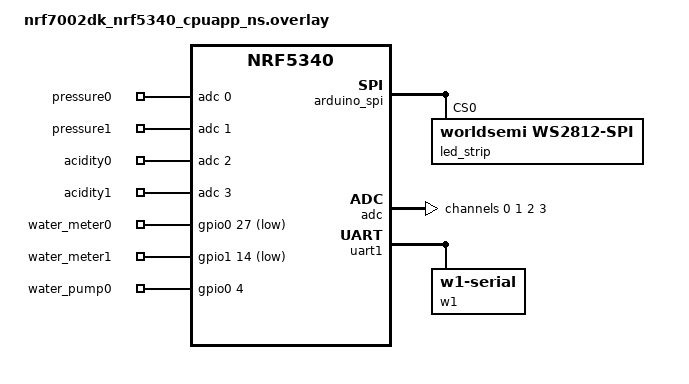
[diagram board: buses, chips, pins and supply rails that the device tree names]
#include <zephyr/dt-bindings/led/led.h>
#include "nrf_led_strip_bindings.h"

/ {
    aliases {
        push-button-0 = &button0;
        push-button-1 = &button1;
        status-led = &led0;
        light-control-0 = &led1;
        temperature-0 = &ds18b200;
        temperature-1 = &ds18b201;
        led-strip = &led_strip;
        water-meter-0 = &water_meter0;
        water-meter-1 = &water_meter1;
        //water-pump-0 = &water_pump0;
    };
    zephyr,user {
        /* these settings act as aliases for ADC sensors */
        io-channels = <&adc 0>, <&adc 1>, <&adc 2>, <&adc 3>;
        io-channel-names = "pressure0", "pressure1", "acidity0", "acidity1";
    };
    water_meters {
        compatible = "gpio-keys";
        water_meter0: water_meter_0 {
            gpios = <&gpio0 27 GPIO_ACTIVE_LOW>;
        };
        water_meter1: water_meter_1 {
            gpios = <&gpio1 14 GPIO_ACTIVE_LOW>;
        };
    };
    water_pumps {
        compatible = "gpio-keys";
        water_pump0: water_pump_0 {
            gpios = <&gpio0 4 GPIO_ACTIVE_HIGH>;
        };
    };
};

&arduino_spi {
    status = "okay";
    compatible = "nordic,nrf-spim";
    led_strip: ws2812@0 {
        compatible = "worldsemi,ws2812-spi";

        /* SPI */
        reg = <0>; /* ignored, but necessary for SPI bindings */
        spi-max-frequency = <SPI_FREQ>;

        /* WS2812 */
        chain-length = <32>; /* arbitrary; change at will */
        color-mapping = <LED_COLOR_ID_GREEN
                 LED_COLOR_ID_RED
                 LED_COLOR_ID_BLUE>;
        spi-one-frame = <ONE_FRAME>;
        spi-zero-frame = <ZERO_FRAME>;
    };
};

&adc {
    #address-cells = <1>;
    #size-cells = <0>;

    channel@0 {
        reg = <0>;
        zephyr,gain = "ADC_GAIN_1_6";
        zephyr,reference = "ADC_REF_INTERNAL";
        zephyr,acquisition-time = <ADC_ACQ_TIME_DEFAULT>;
        zephyr,resolution = <12>;
        zephyr,input-positive = <NRF_SAADC_AIN2>;
        zephyr,oversampling = <8>;
    };

    channel@1 {
        reg = <1>;
        zephyr,gain = "ADC_GAIN_1_6";
        zephyr,reference = "ADC_REF_INTERNAL";
        zephyr,acquisition-time = <ADC_ACQ_TIME_DEFAULT>;
        zephyr,resolution = <12>;
        zephyr,input-positive = <NRF_SAADC_AIN3>;
        zephyr,oversampling = <8>;
    };

    channel@2 {
        reg = <2>;
        zephyr,gain = "ADC_GAIN_1_6";
        zephyr,reference = "ADC_REF_INTERNAL";
        zephyr,acquisition-time = <ADC_ACQ_TIME_DEFAULT>;
        zephyr,resolution = <12>;
        zephyr,input-positive = <NRF_SAADC_AIN4>;
        zephyr,oversampling = <8>;
    };

    channel@3 {
        reg = <3>;
        zephyr,gain = "ADC_GAIN_1_6";
        zephyr,reference = "ADC_REF_INTERNAL";
        zephyr,acquisition-time = <ADC_ACQ_TIME_DEFAULT>;
        zephyr,resolution = <12>;
        zephyr,input-positive = <NRF_SAADC_AIN5>;
        zephyr,oversampling = <8>;
    };
 };

 &uart1 {
    status = "okay";

    w1: w1-zephyr-serial-0 {
        compatible = "zephyr,w1-serial";
        #address-cells = <1>;
        #size-cells = <0>;
        status = "okay";

        ds18b200: ds18b20_0 {
            compatible = "maxim,ds18b20";
            family-code = <0x28>;
            resolution = <12>;
            status = "okay";
        };
        ds18b201: ds18b20_1 {
            compatible = "maxim,ds18b20";
            family-code = <0x28>;
            resolution = <12>;
            status = "okay";
        };
    };
};

&pinctrl {
    uart1_default: uart1_default {
        group1 {
            psels = <NRF_PSEL(UART_TX, 1, 1)>;
            nordic,drive-mode = <NRF_DRIVE_H0D1>;
        };
        group2 {
            psels = <NRF_PSEL(UART_RX, 1, 0)>;
            bias-pull-up;
        };
    };
};
